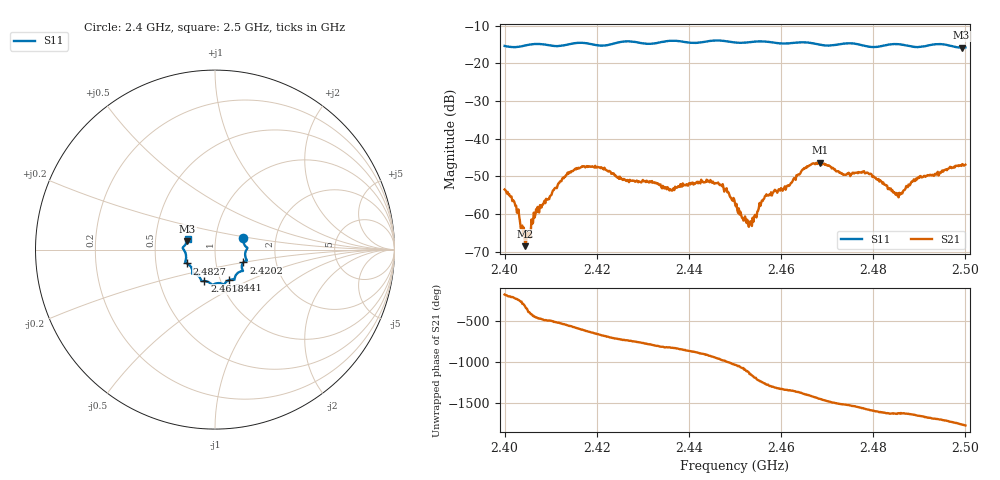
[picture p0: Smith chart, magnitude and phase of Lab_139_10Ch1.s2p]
# Hz S RI R 50
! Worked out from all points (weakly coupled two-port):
!   601 points, 2.4 GHz to 2.5 GHz, reference 50 ohm
!   highest |S21| = -46.35 dB at 2.4685 GHz (marker M1); lowest = -68.5 dB at 2.4045 GHz (marker M2)
!   lowest |S11| = -15.8 dB at 2.4992 GHz (marker M3), VSWR 1.39, Z = 36.5 + j3.65 ohm
!   |S11| at or under -10 dB: start of sweep to end of sweep
!   S12 and S22 are empty: the file has one direction only
!   S11 on the Smith chart (normalised r, x): 2.4 GHz: 1.36, +0.18; 2.4202 GHz: 1.36, -0.20; 2.441 GHz: 1.10, -0.39; 2.4618 GHz: 0.84, -0.30; 2.4827 GHz: 0.72, -0.12; 2.5 GHz: 0.73, +0.09
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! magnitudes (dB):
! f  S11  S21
! 2.4 GHz  -15.4  -53.4
! 2.402 GHz  -15.7  -56.5
! 2.4045 GHz  -15.2  -68.5
! 2.4068 GHz  -14.9  -58.7
! 2.4122 GHz  -15.4  -51.2
! 2.4167 GHz  -14.5  -47.5
! 2.4202 GHz  -15.2  -47.4
! 2.4333 GHz  -14.5  -51.9
! 2.441 GHz  -14.6  -52.2
! 2.4468 GHz  -14.0  -52.2
! 2.45 GHz  -14.5  -57.1
! 2.4532 GHz  -14.4  -62.3
! 2.4567 GHz  -14.2  -55.1
! 2.4618 GHz  -14.7  -52.4
! 2.4667 GHz  -14.6  -46.7
! 2.4685 GHz  -15.1  -46.4
! 2.4827 GHz  -15.2  -52.2
! 2.4833 GHz  -15.0  -53.1
! 2.4857 GHz  -14.9  -54.3
! 2.4898 GHz  -15.7  -50.1
! 2.4992 GHz  -15.8  -47.2
! 2.5 GHz  -15.7  -46.9
